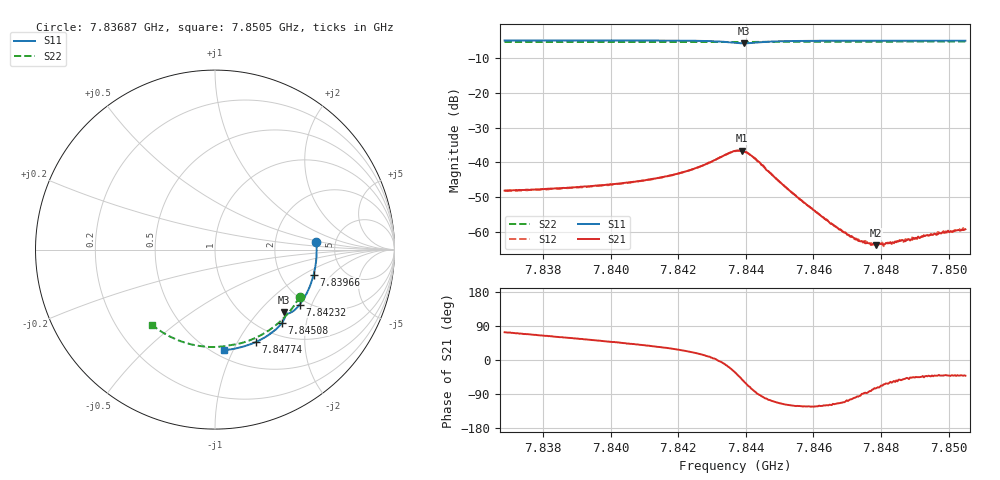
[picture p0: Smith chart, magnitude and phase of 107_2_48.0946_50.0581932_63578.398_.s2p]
#  HZ  S  RI  R  50.00
! Rohde & Schwarz Vector Network Analyzer
! Rohde-Schwarz,ZNB20-2Port,1311601062101988,3.16
! Created: UTC 12/23/2023, 3:45:22 AM
! freq[Hz]  re:S11  im:S11  re:S21  im:S21  re:S12  im:S12  re:S22  im:S22
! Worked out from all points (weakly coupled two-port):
!   401 points, 7.83687 GHz to 7.8505 GHz, reference 50 ohm
!   highest |S21| = -36.62 dB at 7.84389 GHz (marker M1); lowest = -63.8 dB at 7.84784 GHz (marker M2)
!   lowest |S11| = -5.7 dB at 7.84395 GHz (marker M3), VSWR 3.13, Z = 73.1 - j69.1 ohm
!   |S11| at or under -10 dB: nowhere
!   |S22| runs from -5.4 to -5.3 dB; largest |S21 - S12| = 0.00032
!   S11 on the Smith chart (normalised r, x): 7.83687 GHz: 3.54, +0.46; 7.83966 GHz: 3.04, -1.26; 7.84232 GHz: 1.83, -1.64; 7.84508 GHz: 1.25, -1.46; 7.84774 GHz: 0.79, -1.19; 7.8505 GHz: 0.56, -0.92
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7.836866e9  0.5644 0.0444  0.00114 0.00376  0.00117 0.00369  0.4717 -0.262
7.839149e9  0.5567 -0.1072  0.00253 0.00368  0.00247 0.00359  0.3752 -0.3889
7.839661e9  0.5493 -0.1406  0.00291 0.00363  0.00286 0.00359  0.3486 -0.4131
7.841432e9  0.5059 -0.2532  0.00494 0.00337  0.00491 0.00338  0.2456 -0.4823
7.842318e9  0.4716 -0.3067  0.00707 0.00288  0.00704 0.00293  0.1886 -0.5074
7.84317e9  0.4226 -0.3509  0.0113 -0.000265  0.0114 -0.000161  0.1311 -0.5246
7.843681e9  0.3864 -0.3544  0.0123 -0.00783  0.0122 -0.00781  0.0968 -0.5304
7.843886e9  0.3817 -0.3484  0.00924 -0.0115  0.00928 -0.0112  0.0838 -0.5324
7.843954e9  0.3822 -0.3469  0.00759 -0.012  0.00783 -0.012  0.0796 -0.5332
7.844227e9  0.389 -0.3517  0.002 -0.0116  0.0021 -0.0117  0.062 -0.5365
7.845078e9  0.3741 -0.4072  -0.0021 -0.00438  -0.00207 -0.0044  0.00275 -0.5427
7.845964e9  0.3296 -0.4529  -0.00116 -0.0018  -0.00117 -0.00182  -0.0596 -0.5405
7.846441e9  0.3031 -0.4727  -0.000707 -0.00123  -0.000647 -0.00128  -0.0931 -0.5361
7.847021e9  0.2697 -0.4938  -0.000285 -0.000868  -0.000259 -0.000869  -0.1329 -0.528
7.847327e9  0.2511 -0.5035  -8.57e-05 -0.000737  -8.06e-05 -0.000779  -0.1537 -0.5224
7.847736e9  0.2263 -0.5153  0.000133 -0.000638  0.00011 -0.000667  -0.1811 -0.5138
7.847838e9  0.2198 -0.5182  0.000163 -0.000622  0.000179 -0.000627  -0.1879 -0.5114
7.848247e9  0.1944 -0.5283  0.00034 -0.000595  0.000354 -0.000605  -0.2145 -0.5011
7.84835e9  0.1879 -0.5306  0.000382 -0.000599  0.000357 -0.000583  -0.2212 -0.4982
7.848861e9  0.1555 -0.5409  0.000518 -0.000543  0.00054 -0.000604  -0.2537 -0.4829
7.849747e9  0.0979 -0.5542  0.000723 -0.000631  0.000733 -0.000656  -0.3071 -0.4512
7.850496e9  0.0486 -0.5603  0.000817 -0.00072  0.000826 -0.000709  -0.3493 -0.4201
